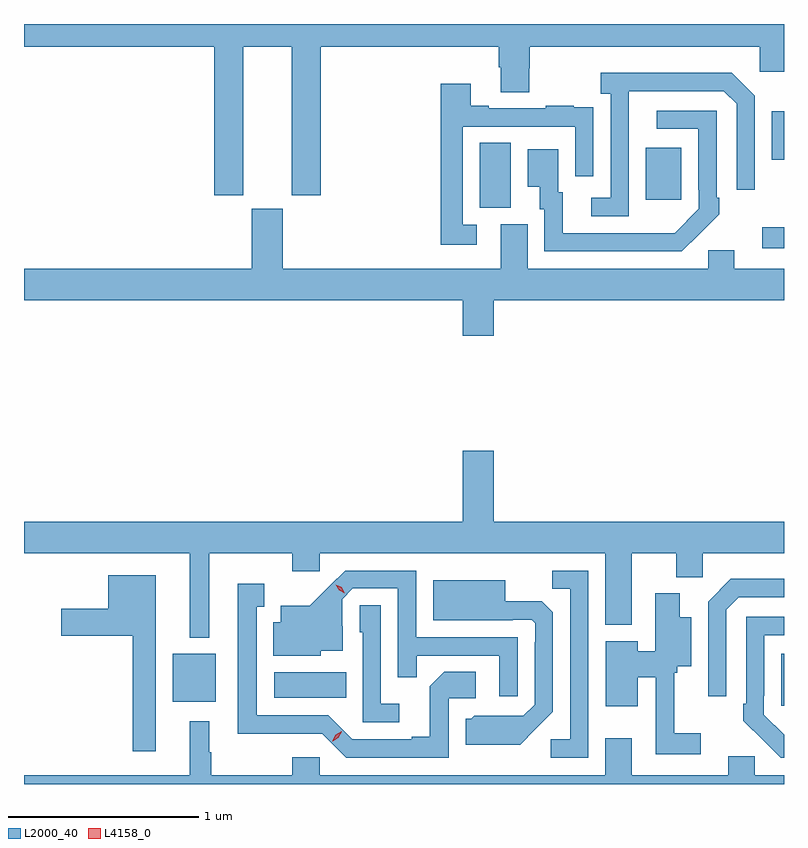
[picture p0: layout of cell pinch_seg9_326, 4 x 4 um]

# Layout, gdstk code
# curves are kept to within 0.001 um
import gdstk
lib = gdstk.Library(unit=1e-6, precision=1e-09)
def R(c, l, rs):  # rectangles x0, y0, x1, y1
    for r in rs: c.add(gdstk.rectangle(r[:2], r[2:], *l))
def P(c, l, *ps):  # polygons
    for p in ps: c.add(gdstk.Polygon(p, *l))
L2000_40 = (2000, 40)
L4158_0 = (4158, 0)

pinch_seg9_326 = lib.new_cell('pinch_seg9_326')
R(pinch_seg9_326, L2000_40, [(598.253,1184.961,598.267,1185.235), (595.049,1184.981,595.276,1185.235), (595.584,1185.002,595.964,1185.136), (598.152,1187.37,598.267,1187.479), (596.666,1187.581,596.83,1187.924), (597.539,1187.625,597.727,1187.899), (598.202,1187.834,598.267,1188.091)])
P(pinch_seg9_326, L2000_40, [(595.42,1188.428),(595.676,1188.428),(595.676,1187.649),(595.829,1187.649),(595.829,1188.428),(596.765,1188.428),(596.765,1188.322),(596.777,1188.322),(596.777,1188.19),(596.925,1188.19),(596.925,1188.315),(596.93,1188.315),(596.93,1188.428),(598.14,1188.428),(598.14,1188.297),(598.267,1188.297),(598.267,1188.549),(594.267,1188.549),(594.267,1188.428),(595.268,1188.428),(595.268,1187.649),(595.42,1187.649)],
  [(597.45,1187.995),(597.451,1188.195),(597.951,1188.195),(598.017,1188.129),(598.017,1187.676),(598.113,1187.676),(598.113,1188.171),(597.992,1188.292),(597.303,1188.292),(597.303,1188.182),(597.354,1188.182),(597.354,1187.634),(597.252,1187.634),(597.252,1187.538),(597.45,1187.538)],
  [(596.65,1187.493),(596.577,1187.493),(596.577,1188.009),(597.168,1188.009),(597.168,1187.748),(597.264,1187.748),(597.264,1188.002),(597.263,1188.002),(597.263,1188.111),(597.161,1188.111),(597.161,1188.118),(597.013,1188.118),(597.013,1188.105),(596.713,1188.105),(596.713,1188.118),(596.617,1188.118),(596.617,1188.235),(596.461,1188.235),(596.461,1187.388),(596.65,1187.388)],
  [(597.821,1187.443),(597.822,1187.442),(597.927,1187.547),(597.927,1187.635),(597.912,1187.635),(597.912,1188.093),(597.597,1188.093),(597.597,1187.997),(597.816,1187.997),(597.816,1187.677),(597.819,1187.677),(597.819,1187.577),(597.691,1187.449),(597.103,1187.448),(597.103,1187.664),(597.079,1187.664),(597.079,1187.89),(596.918,1187.89),(596.918,1187.693),(596.981,1187.693),(596.981,1187.574),(597.006,1187.574),(597.006,1187.352),(597.73,1187.352)],
  [(595.63,1187.577),(595.466,1187.577),(595.466,1187.26),(594.267,1187.26),(594.267,1187.096),(596.576,1187.096),(596.576,1186.908),(596.74,1186.908),(596.74,1187.096),(598.267,1187.096),(598.267,1187.26),(598.006,1187.26),(598.006,1187.358),(597.867,1187.358),(597.867,1187.26),(596.917,1187.26),(596.917,1187.496),(596.777,1187.496),(596.777,1187.26),(595.63,1187.26)],
  [(595.243,1185.764),(595.678,1185.764),(595.678,1185.669),(595.824,1185.669),(595.824,1185.764),(597.326,1185.764),(597.326,1185.386),(597.466,1185.386),(597.466,1185.764),(597.701,1185.764),(597.701,1185.638),(597.84,1185.638),(597.84,1185.764),(598.267,1185.764),(598.267,1185.928),(596.74,1185.928),(596.74,1186.303),(596.576,1186.303),(596.576,1185.928),(594.267,1185.928),(594.267,1185.764),(595.139,1185.764),(595.139,1185.32),(595.243,1185.32)],
  [(597.237,1185.672),(597.046,1185.672),(597.046,1185.577),(597.141,1185.577),(597.141,1184.784),(597.039,1184.784),(597.039,1184.688),(597.237,1184.688)],
  [(596.865,1185.321),(596.331,1185.321),(596.331,1185.672),(595.958,1185.672),(595.771,1185.487),(595.619,1185.487),(595.619,1185.4),(595.58,1185.4),(595.58,1185.224),(595.83,1185.224),(595.83,1185.251),(595.945,1185.251),(595.945,1185.38),(595.941,1185.38),(595.941,1185.522),(595.998,1185.579),(596.235,1185.579),(596.235,1185.112),(596.333,1185.112),(596.333,1185.225),(596.769,1185.225),(596.769,1185.012),(596.865,1185.012)],
  [(594.961,1185.649),(594.71,1185.649),(594.71,1185.471),(594.462,1185.471),(594.462,1185.329),(594.84,1185.329),(594.84,1184.721),(594.961,1184.721)],
  [(597.963,1185.465),(598.029,1185.531),(598.267,1185.531),(598.267,1185.628),(597.988,1185.628),(597.867,1185.507),(597.867,1185.012),(597.963,1185.012)],
  [(596.959,1184.837),(597.051,1184.93),(597.051,1185.452),(596.992,1185.511),(596.8,1185.511),(596.8,1185.622),(596.42,1185.622),(596.42,1185.41),(596.84,1185.41),(596.84,1185.414),(596.94,1185.414),(596.958,1185.396),(596.958,1185.296),(596.955,1185.296),(596.955,1184.967),(596.895,1184.907),(596.638,1184.908),(596.622,1184.892),(596.591,1184.892),(596.591,1184.756),(596.879,1184.756)],
  [(596.502,1185),(596.644,1185),(596.644,1185.14),(596.479,1185.14),(596.403,1185.064),(596.403,1184.797),(596.309,1184.797),(596.309,1184.784),(595.995,1184.784),(595.869,1184.91),(595.492,1184.91),(595.492,1185.483),(595.531,1185.483),(595.531,1185.604),(595.391,1185.604),(595.391,1184.813),(595.836,1184.814),(595.962,1184.688),(596.502,1184.688)],
  [(597.829,1184.815),(597.689,1184.815),(597.689,1185.135),(597.706,1185.135),(597.706,1185.17),(597.778,1185.17),(597.778,1185.427),(597.718,1185.427),(597.718,1185.553),(597.59,1185.553),(597.59,1185.248),(597.496,1185.248),(597.496,1185.301),(597.329,1185.301),(597.329,1184.958),(597.496,1184.958),(597.496,1185.112),(597.591,1185.112),(597.591,1184.706),(597.829,1184.706)],
  [(596.242,1184.971),(596.145,1184.971),(596.145,1185.491),(596.034,1185.491),(596.034,1185.348),(596.049,1185.348),(596.049,1184.874),(596.242,1184.874)],
  [(598.267,1184.808),(598.161,1184.913),(598.161,1185.013),(598.164,1185.013),(598.164,1185.333),(598.267,1185.333),(598.267,1185.429),(598.068,1185.429),(598.068,1184.971),(598.053,1184.971),(598.053,1184.883),(598.25,1184.688),(598.267,1184.688)],
  [(598.267,1184.596),(598.113,1184.596),(598.113,1184.694),(597.974,1184.694),(597.974,1184.596),(597.466,1184.596),(597.466,1184.791),(597.326,1184.791),(597.326,1184.596),(595.824,1184.596),(595.824,1184.689),(595.678,1184.689),(595.678,1184.596),(595.253,1184.596),(595.253,1184.717),(595.243,1184.717),(595.243,1184.878),(595.139,1184.878),(595.139,1184.596),(594.267,1184.596),(594.267,1184.549),(598.267,1184.549)])
P(pinch_seg9_326, L4158_0, [(595.956,1185.554),(595.926,1185.569),(595.908,1185.599),(595.908,1185.599),(595.909,1185.599),(595.939,1185.584),(595.956,1185.554),(595.956,1185.554)],
  [(595.89,1184.774),(595.89,1184.774),(595.908,1184.807),(595.94,1184.826),(595.94,1184.826),(595.94,1184.825),(595.922,1184.793),(595.891,1184.774)])

lib.write_gds('pinch_seg9_326.gds')
